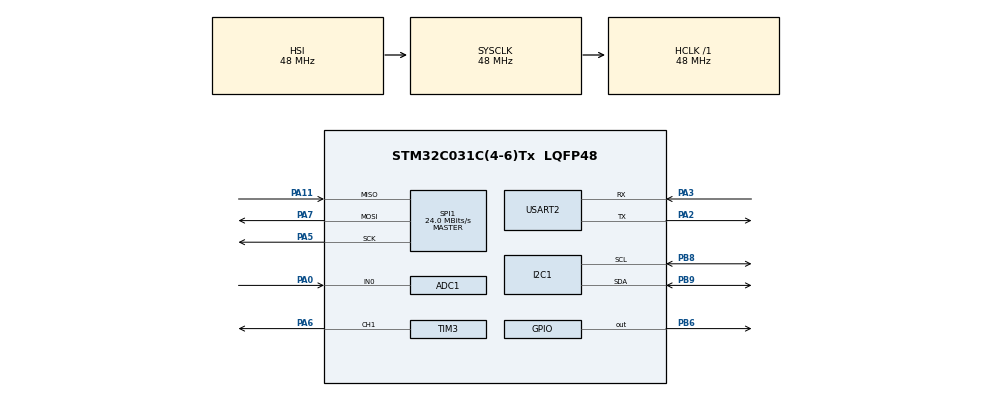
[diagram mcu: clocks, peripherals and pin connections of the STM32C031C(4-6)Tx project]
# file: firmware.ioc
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ADC1.NbrOfConversionFlag=0
ADC1.SelectedChannel=ADC_CHANNEL_0
ADC1.master=1
I2C1.Timing=0x10805D88
Mcu.Family=STM32C0
Mcu.Name=STM32C031C(4-6)Tx
Mcu.Package=LQFP48
PA0.Mode=IN0
PA0.Signal=ADC1_IN0
PA11\ [PA9].Mode=Full_Duplex_Master
PA11\ [PA9].Signal=SPI1_MISO
PA2.Mode=Asynchronous
PA2.Signal=USART2_TX
PA3.Mode=Asynchronous
PA3.Signal=USART2_RX
PA5.Mode=Full_Duplex_Master
PA5.Signal=SPI1_SCK
PA6.Signal=S_TIM3_CH1
PA7.Mode=Full_Duplex_Master
PA7.Signal=SPI1_MOSI
PB6.Signal=GPIO_Output
PB8.Mode=I2C
PB8.Signal=I2C1_SCL
PB9.Mode=I2C
PB9.Signal=I2C1_SDA
ProjectManager.HeapSize=0x200
ProjectManager.StackSize=0x400
ProjectManager.TargetToolchain=Makefile
RCC.ADCFreq_Value=48000000
RCC.AHBFreq_Value=48000000
RCC.CortexFreq_Value=48000000
RCC.EXTERNAL_CLOCK_VALUE=12288000
RCC.HCLKFreq_Value=48000000
RCC.HSE_VALUE=8000000
RCC.HSISYSCLKDivider=RCC_HSI_DIV1
RCC.HSI_VALUE=48000000
RCC.LSE_VALUE=32768
RCC.SYSCLKFreq_VALUE=48000000
SH.S_TIM3_CH1.0=TIM3_CH1,PWM Generation1 CH1
SPI1.CalculateBaudRate=24.0 MBits/s
SPI1.Direction=SPI_DIRECTION_2LINES
SPI1.Mode=SPI_MODE_MASTER
SPI1.VirtualType=VM_MASTER
TIM3.Channel-PWM\ Generation1\ CH1=TIM_CHANNEL_1
USART2.VirtualMode-Asynchronous=VM_ASYNC
board=custom

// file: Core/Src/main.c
/* USER CODE BEGIN Header */
/**
  ******************************************************************************
  * @file           : main.c
  * @brief          : Main program body
  ******************************************************************************
  * @attention
  *
  * Copyright (c) 2026 STMicroelectronics.
  * All rights reserved.
  *
  * This software is licensed under terms that can be found in the LICENSE file
  * in the root directory of this software component.
  * If no LICENSE file comes with this software, it is provided AS-IS.
  *
  ******************************************************************************
  */
/* USER CODE END Header */
#include "main.h"
#include "app.h" // <-- ДОДАНО: підключення нашого бізнес-шару

/* USER CODE BEGIN Includes */
#include <stdio.h>
#include <string.h>
/* USER CODE END Includes */

ADC_HandleTypeDef hadc1;

I2C_HandleTypeDef hi2c1;

SPI_HandleTypeDef hspi1;

TIM_HandleTypeDef htim3;

UART_HandleTypeDef huart2;

/* USER CODE BEGIN PV */
uint8_t i2c_addr_found = 0;
/* USER CODE END PV */

void SystemClock_Config(void);
static void MX_GPIO_Init(void);
static void MX_ADC1_Init(void);
static void MX_USART2_UART_Init(void);
static void MX_I2C1_Init(void);
static void MX_SPI1_Init(void);
static void MX_TIM3_Init(void);
/* USER CODE BEGIN PFP */
void I2C_Scan(void); // <-- Залишаємо сканер тут для діагностики
/* USER CODE END PFP */

/* USER CODE BEGIN 0 */
/* I2C Scanner */
void I2C_Scan(void) {
    printf("Scanning I2C bus...\r\n");
    for (uint8_t addr = 1; addr < 128; addr++) {
        if (HAL_I2C_IsDeviceReady(&hi2c1, addr << 1, 3, 10) == HAL_OK) {
            printf("  Device found at 0x%02X\r\n", addr);
            if (addr == 0x68) i2c_addr_found = 1;
        }
    }
    if (i2c_addr_found) printf("MPU-6050 detected!\r\n");
    else printf("MPU-6050 NOT found!\r\n");
}
/* USER CODE END 0 */

int main(void)
{

  /* MCU Configuration--------------------------------------------------------*/

  /* Reset of all peripherals, Initializes the Flash interface and the Systick. */
  HAL_Init();

  /* Configure the system clock */
  SystemClock_Config();

  /* Initialize all configured peripherals */
  MX_GPIO_Init();
  MX_ADC1_Init();
  MX_USART2_UART_Init();
  MX_I2C1_Init();
  MX_SPI1_Init();
  MX_TIM3_Init();
  /* USER CODE BEGIN 2 */
  printf("=== Motion-Mirroring Teleoperator ===\r\n");
  printf("Lab 2: Layered Architecture\r\n");

  I2C_Scan();

  // Запуск таймера для серво (це апаратна частина, залишається тут)
  HAL_TIM_PWM_Start(&htim3, TIM_CHANNEL_1);
  __HAL_TIM_SET_COMPARE(&htim3, TIM_CHANNEL_1, 1500);

  // Ініціалізація нашого додатку (драйвери сенсорів всередині)
  Board_Init();
  App_Init();
  App_Init();
  /* USER CODE END 2 */

  /* Infinite loop */
  while (1)
  {

    /* USER CODE BEGIN 3 */
    App_Loop();
  }
  /* USER CODE END 3 */
}

void SystemClock_Config(void)
{
  RCC_OscInitTypeDef RCC_OscInitStruct = {0};
  RCC_ClkInitTypeDef RCC_ClkInitStruct = {0};

  __HAL_FLASH_SET_LATENCY(FLASH_LATENCY_1);

  /** Initializes the RCC Oscillators according to the specified parameters
  * in the RCC_OscInitTypeDef structure.
  */
  RCC_OscInitStruct.OscillatorType = RCC_OSCILLATORTYPE_HSI;
  RCC_OscInitStruct.HSIState = RCC_HSI_ON;
  RCC_OscInitStruct.HSIDiv = RCC_HSI_DIV1;
  RCC_OscInitStruct.HSICalibrationValue = RCC_HSICALIBRATION_DEFAULT;
  if (HAL_RCC_OscConfig(&RCC_OscInitStruct) != HAL_OK)
  {
    Error_Handler();
  }

  /** Initializes the CPU, AHB and APB buses clocks
  */
  RCC_ClkInitStruct.ClockType = RCC_CLOCKTYPE_HCLK|RCC_CLOCKTYPE_SYSCLK
                              |RCC_CLOCKTYPE_PCLK1;
  RCC_ClkInitStruct.SYSCLKSource = RCC_SYSCLKSOURCE_HSI;
  RCC_ClkInitStruct.SYSCLKDivider = RCC_SYSCLK_DIV1;
  RCC_ClkInitStruct.AHBCLKDivider = RCC_HCLK_DIV1;
  RCC_ClkInitStruct.APB1CLKDivider = RCC_APB1_DIV1;

  if (HAL_RCC_ClockConfig(&RCC_ClkInitStruct, FLASH_LATENCY_1) != HAL_OK)
  {
    Error_Handler();
  }
}

static void MX_ADC1_Init(void)
{

  ADC_ChannelConfTypeDef sConfig = {0};

  /** Configure the global features of the ADC (Clock, Resolution, Data Alignment and number of conversion)
  */
  hadc1.Instance = ADC1;
  hadc1.Init.ClockPrescaler = ADC_CLOCK_SYNC_PCLK_DIV2;
  hadc1.Init.Resolution = ADC_RESOLUTION_12B;
  hadc1.Init.DataAlign = ADC_DATAALIGN_RIGHT;
  hadc1.Init.ScanConvMode = ADC_SCAN_SEQ_FIXED;
  hadc1.Init.EOCSelection = ADC_EOC_SINGLE_CONV;
  hadc1.Init.LowPowerAutoWait = DISABLE;
  hadc1.Init.LowPowerAutoPowerOff = DISABLE;
  hadc1.Init.ContinuousConvMode = DISABLE;
  hadc1.Init.NbrOfConversion = 1;
  hadc1.Init.DiscontinuousConvMode = DISABLE;
  hadc1.Init.ExternalTrigConv = ADC_SOFTWARE_START;
  hadc1.Init.ExternalTrigConvEdge = ADC_EXTERNALTRIGCONVEDGE_NONE;
  hadc1.Init.DMAContinuousRequests = DISABLE;
  hadc1.Init.Overrun = ADC_OVR_DATA_PRESERVED;
  hadc1.Init.SamplingTimeCommon1 = ADC_SAMPLETIME_79CYCLES_5;
  hadc1.Init.OversamplingMode = DISABLE;
  hadc1.Init.TriggerFrequencyMode = ADC_TRIGGER_FREQ_HIGH;
  if (HAL_ADC_Init(&hadc1) != HAL_OK)
  {
    Error_Handler();
  }

  /** Configure Regular Channel
  */
  sConfig.Channel = ADC_CHANNEL_0;
  sConfig.Rank = ADC_RANK_CHANNEL_NUMBER;
  if (HAL_ADC_ConfigChannel(&hadc1, &sConfig) != HAL_OK)
  {
    Error_Handler();
  }

}

static void MX_I2C1_Init(void)
{

  hi2c1.Instance = I2C1;
  hi2c1.Init.Timing = 0x10805D88;
  hi2c1.Init.OwnAddress1 = 0;
  hi2c1.Init.AddressingMode = I2C_ADDRESSINGMODE_7BIT;
  hi2c1.Init.DualAddressMode = I2C_DUALADDRESS_DISABLE;
  hi2c1.Init.OwnAddress2 = 0;
  hi2c1.Init.OwnAddress2Masks = I2C_OA2_NOMASK;
  hi2c1.Init.GeneralCallMode = I2C_GENERALCALL_DISABLE;
  hi2c1.Init.NoStretchMode = I2C_NOSTRETCH_DISABLE;
  if (HAL_I2C_Init(&hi2c1) != HAL_OK)
  {
    Error_Handler();
  }

  /** Configure Analogue filter
  */
  if (HAL_I2CEx_ConfigAnalogFilter(&hi2c1, I2C_ANALOGFILTER_ENABLE) != HAL_OK)
  {
    Error_Handler();
  }

  /** Configure Digital filter
  */
  if (HAL_I2CEx_ConfigDigitalFilter(&hi2c1, 0) != HAL_OK)
  {
    Error_Handler();
  }

}

static void MX_SPI1_Init(void)
{

  /* SPI1 parameter configuration*/
  hspi1.Instance = SPI1;
  hspi1.Init.Mode = SPI_MODE_MASTER;
  hspi1.Init.Direction = SPI_DIRECTION_2LINES;
  hspi1.Init.DataSize = SPI_DATASIZE_8BIT;
  hspi1.Init.CLKPolarity = SPI_POLARITY_LOW;
  hspi1.Init.CLKPhase = SPI_PHASE_1EDGE;
  hspi1.Init.NSS = SPI_NSS_SOFT;
  hspi1.Init.BaudRatePrescaler = SPI_BAUDRATEPRESCALER_2;
  hspi1.Init.FirstBit = SPI_FIRSTBIT_MSB;
  hspi1.Init.TIMode = SPI_TIMODE_DISABLE;
  hspi1.Init.CRCCalculation = SPI_CRCCALCULATION_DISABLE;
  hspi1.Init.CRCPolynomial = 7;
  hspi1.Init.CRCLength = SPI_CRC_LENGTH_DATASIZE;
  hspi1.Init.NSSPMode = SPI_NSS_PULSE_ENABLE;
  if (HAL_SPI_Init(&hspi1) != HAL_OK)
  {
    Error_Handler();
  }

}

static void MX_TIM3_Init(void)
{

  TIM_MasterConfigTypeDef sMasterConfig = {0};
  TIM_OC_InitTypeDef sConfigOC = {0};

  htim3.Instance = TIM3;
  htim3.Init.Prescaler = 47; // 48MHz / (47+1) = 1 MHz -> 1 tick = 1us
  htim3.Init.CounterMode = TIM_COUNTERMODE_UP;
  htim3.Init.Period = 19999; // 1MHz * 20ms = 20000 ticks -> 50Hz
  htim3.Init.ClockDivision = TIM_CLOCKDIVISION_DIV1;
  htim3.Init.AutoReloadPreload = TIM_AUTORELOAD_PRELOAD_DISABLE;
  if (HAL_TIM_PWM_Init(&htim3) != HAL_OK)
  {
    Error_Handler();
  }
  sMasterConfig.MasterOutputTrigger = TIM_TRGO_RESET;
  sMasterConfig.MasterSlaveMode = TIM_MASTERSLAVEMODE_DISABLE;
  if (HAL_TIMEx_MasterConfigSynchronization(&htim3, &sMasterConfig) != HAL_OK)
  {
    Error_Handler();
  }
  sConfigOC.OCMode = TIM_OCMODE_PWM1;
  sConfigOC.Pulse = 1500; // Center
  sConfigOC.OCPolarity = TIM_OCPOLARITY_HIGH;
  sConfigOC.OCFastMode = TIM_OCFAST_DISABLE;
  if (HAL_TIM_PWM_ConfigChannel(&htim3, &sConfigOC, TIM_CHANNEL_1) != HAL_OK)
  {
    Error_Handler();
  }
  HAL_TIM_MspPostInit(&htim3);

}

static void MX_USART2_UART_Init(void)
{

  huart2.Instance = USART2;
  huart2.Init.BaudRate = 115200;
  huart2.Init.WordLength = UART_WORDLENGTH_8B;
  huart2.Init.StopBits = UART_STOPBITS_1;
  huart2.Init.Parity = UART_PARITY_NONE;
  huart2.Init.Mode = UART_MODE_TX_RX;
  huart2.Init.HwFlowCtl = UART_HWCONTROL_NONE;
  huart2.Init.OverSampling = UART_OVERSAMPLING_16;
  huart2.Init.OneBitSampling = UART_ONE_BIT_SAMPLE_DISABLE;
  huart2.Init.ClockPrescaler = UART_PRESCALER_DIV1;
  huart2.AdvancedInit.AdvFeatureInit = UART_ADVFEATURE_NO_INIT;
  if (HAL_UART_Init(&huart2) != HAL_OK)
  {
    Error_Handler();
  }

}

static void MX_GPIO_Init(void)
{
  GPIO_InitTypeDef GPIO_InitStruct = {0};

  /* GPIO Ports Clock Enable */
  __HAL_RCC_GPIOA_CLK_ENABLE();
  __HAL_RCC_GPIOB_CLK_ENABLE();

  /*Configure GPIO pin Output Level */
  HAL_GPIO_WritePin(GPIOB, GPIO_PIN_6, GPIO_PIN_RESET);

  /*Configure GPIO pin : PB6 */
  GPIO_InitStruct.Pin = GPIO_PIN_6;
  GPIO_InitStruct.Mode = GPIO_MODE_OUTPUT_PP;
  GPIO_InitStruct.Pull = GPIO_NOPULL;
  GPIO_InitStruct.Speed = GPIO_SPEED_FREQ_LOW;
  HAL_GPIO_Init(GPIOB, &GPIO_InitStruct);

}

/* USER CODE BEGIN 4 */
int _write(int fd, char *p, int n) {
    HAL_UART_Transmit(&huart2, (uint8_t*)p, n, HAL_MAX_DELAY);
    return n;
}
/* USER CODE END 4 */

void Error_Handler(void)
{
  __disable_irq();
  while (1)
  {
  }
}
